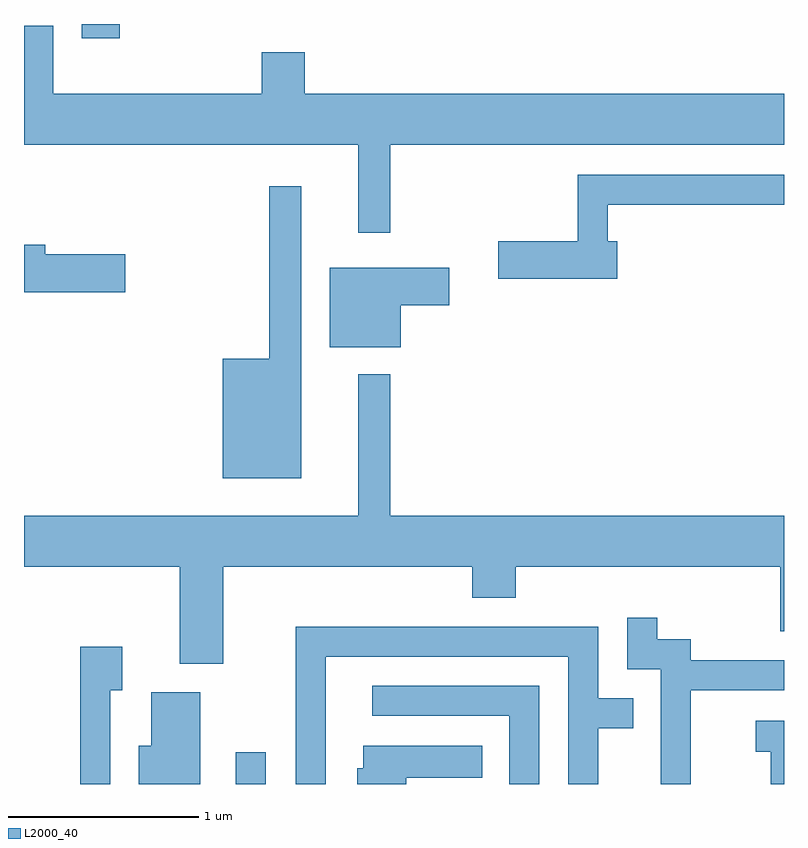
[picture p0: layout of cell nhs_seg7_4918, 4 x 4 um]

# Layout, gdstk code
import gdstk
lib = gdstk.Library(unit=1e-6, precision=1e-09)
def R(c, l, rs):  # rectangles x0, y0, x1, y1
    for r in rs: c.add(gdstk.rectangle(r[:2], r[2:], *l))
def P(c, l, *ps):  # polygons
    for p in ps: c.add(gdstk.Polygon(p, *l))
L2000_40 = (2000, 40)

nhs_seg7_4918 = lib.new_cell('nhs_seg7_4918')
R(nhs_seg7_4918, L2000_40, [(336.726,1744.252,336.884,1744.418), (335.916,1748.176,336.114,1748.252)])
P(nhs_seg7_4918, L2000_40, [(337.539,1747.616),(339.611,1747.616),(339.611,1747.884),(337.089,1747.884),(337.089,1748.104),(336.861,1748.104),(336.861,1747.884),(335.764,1747.884),(335.764,1748.243),(335.611,1748.243),(335.611,1747.616),(337.371,1747.616),(337.371,1747.153),(337.539,1747.153)],
  [(338.734,1747.109),(338.684,1747.109),(338.684,1747.301),(339.611,1747.301),(339.611,1747.459),(338.526,1747.459),(338.526,1747.109),(338.106,1747.109),(338.106,1746.911),(338.734,1746.911)],
  [(337.069,1747.398),(336.901,1747.398),(336.901,1746.489),(336.656,1746.489),(336.656,1745.861),(337.069,1745.861)],
  [(336.144,1747.039),(335.724,1747.039),(335.724,1747.089),(335.611,1747.089),(335.611,1746.841),(336.144,1746.841)],
  [(337.594,1746.771),(337.849,1746.771),(337.849,1746.969),(337.221,1746.969),(337.221,1746.551),(337.594,1746.551)],
  [(336.659,1745.396),(337.971,1745.396),(337.971,1745.231),(338.199,1745.231),(338.199,1745.396),(339.591,1745.396),(339.591,1745.056),(339.611,1745.056),(339.611,1745.664),(337.539,1745.664),(337.539,1746.408),(337.371,1746.408),(337.371,1745.664),(335.611,1745.664),(335.611,1745.396),(336.431,1745.396),(336.431,1744.886),(336.659,1744.886)],
  [(339.119,1744.746),(339.611,1744.746),(339.611,1744.904),(339.119,1744.904),(339.119,1745.014),(338.944,1745.014),(338.944,1745.128),(338.786,1745.128),(338.786,1744.856),(338.961,1744.856),(338.961,1744.252),(339.119,1744.252)],
  [(337.199,1744.921),(338.476,1744.921),(338.476,1744.252),(338.634,1744.252),(338.634,1744.546),(338.818,1744.546),(338.818,1744.704),(338.634,1744.704),(338.634,1745.079),(337.041,1745.079),(337.041,1744.252),(337.199,1744.252)],
  [(336.064,1744.746),(336.129,1744.746),(336.129,1744.974),(335.906,1744.974),(335.906,1744.252),(336.064,1744.252)],
  [(338.324,1744.769),(337.443,1744.769),(337.443,1744.611),(338.166,1744.611),(338.166,1744.252),(338.324,1744.252)],
  [(336.539,1744.734),(336.281,1744.734),(336.281,1744.454),(336.216,1744.454),(336.216,1744.252),(336.539,1744.252)],
  [(339.611,1744.584),(339.463,1744.584),(339.463,1744.421),(339.541,1744.421),(339.541,1744.252),(339.611,1744.252)],
  [(337.624,1744.286),(338.023,1744.286),(338.023,1744.454),(337.396,1744.454),(337.396,1744.334),(337.366,1744.334),(337.366,1744.252),(337.624,1744.252)])

lib.write_gds('nhs_seg7_4918.gds')
